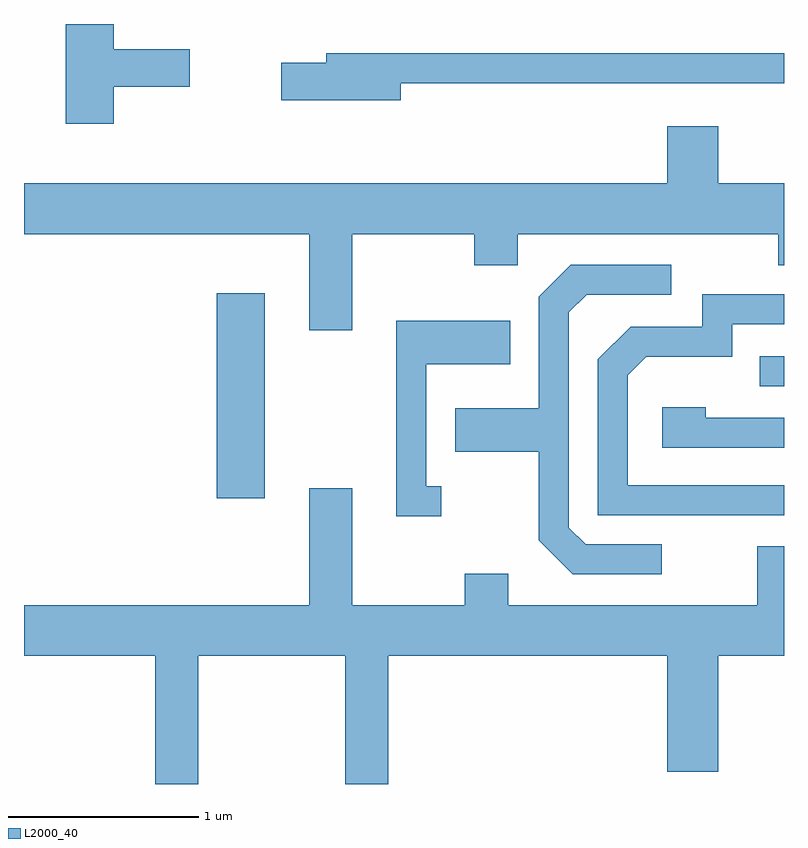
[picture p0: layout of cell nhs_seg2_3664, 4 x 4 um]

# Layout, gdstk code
import gdstk
lib = gdstk.Library(unit=1e-6, precision=1e-09)
def R(c, l, rs):  # rectangles x0, y0, x1, y1
    for r in rs: c.add(gdstk.rectangle(r[:2], r[2:], *l))
def P(c, l, *ps):  # polygons
    for p in ps: c.add(gdstk.Polygon(p, *l))
L2000_40 = (2000, 40)

nhs_seg2_3664 = lib.new_cell('nhs_seg2_3664')
R(nhs_seg2_3664, L2000_40, [(292.626,1111.306,292.879,1112.384), (295.483,1111.896,295.611,1112.054)])
P(nhs_seg2_3664, L2000_40, [(292.084,1113.471),(292.484,1113.471),(292.484,1113.669),(292.084,1113.669),(292.084,1113.802),(291.831,1113.802),(291.831,1113.276),(292.084,1113.276)],
  [(293.594,1113.491),(295.611,1113.491),(295.611,1113.649),(293.201,1113.649),(293.201,1113.599),(292.966,1113.599),(292.966,1113.401),(293.594,1113.401)],
  [(293.339,1112.696),(293.981,1112.696),(293.981,1112.531),(294.209,1112.531),(294.209,1112.696),(295.581,1112.696),(295.581,1112.531),(295.611,1112.531),(295.611,1112.964),(295.264,1112.964),(295.264,1113.264),(294.996,1113.264),(294.996,1112.964),(291.611,1112.964),(291.611,1112.696),(293.111,1112.696),(293.111,1112.191),(293.339,1112.191)],
  [(294.968,1111.064),(294.567,1111.064),(294.479,1111.152),(294.479,1112.284),(294.572,1112.376),(295.018,1112.376),(295.018,1112.534),(294.489,1112.534),(294.321,1112.367),(294.321,1111.779),(293.881,1111.779),(293.881,1111.551),(294.321,1111.551),(294.321,1111.084),(294.499,1110.906),(294.968,1110.906)],
  [(295.611,1111.374),(294.789,1111.374),(294.789,1111.954),(294.887,1112.051),(295.339,1112.051),(295.339,1112.221),(295.611,1112.221),(295.611,1112.379),(295.181,1112.379),(295.181,1112.209),(294.804,1112.209),(294.631,1112.037),(294.631,1111.216),(295.611,1111.216)],
  [(293.808,1111.369),(293.729,1111.369),(293.729,1112.011),(294.169,1112.011),(294.169,1112.239),(293.571,1112.239),(293.571,1111.211),(293.808,1111.211)],
  [(295.611,1111.729),(295.199,1111.729),(295.199,1111.784),(294.971,1111.784),(294.971,1111.571),(295.611,1111.571)],
  [(292.529,1110.476),(293.301,1110.476),(293.301,1109.802),(293.529,1109.802),(293.529,1110.476),(294.996,1110.476),(294.996,1109.866),(295.264,1109.866),(295.264,1110.476),(295.611,1110.476),(295.611,1111.054),(295.471,1111.054),(295.471,1110.744),(294.159,1110.744),(294.159,1110.909),(293.931,1110.909),(293.931,1110.744),(293.339,1110.744),(293.339,1111.359),(293.111,1111.359),(293.111,1110.744),(291.611,1110.744),(291.611,1110.476),(292.301,1110.476),(292.301,1109.802),(292.529,1109.802)])

lib.write_gds('nhs_seg2_3664.gds')
